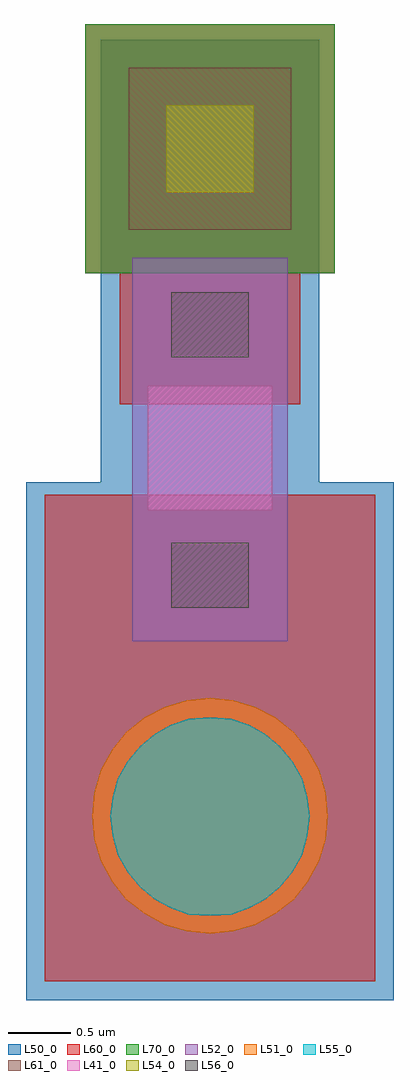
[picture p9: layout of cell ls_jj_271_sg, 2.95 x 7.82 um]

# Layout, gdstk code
import gdstk
lib = gdstk.Library(unit=1e-6, precision=1e-09)
def R(c, l, rs):  # rectangles x0, y0, x1, y1
    for r in rs: c.add(gdstk.rectangle(r[:2], r[2:], *l))
def P(c, l, *ps):  # polygons
    for p in ps: c.add(gdstk.Polygon(p, *l))
L41_0 = (41, 0)
L50_0 = (50, 0)
L51_0 = (51, 0)
L52_0 = (52, 0)
L54_0 = (54, 0)
L55_0 = (55, 0)
L56_0 = (56, 0)
L60_0 = (60, 0)
L61_0 = (61, 0)
L70_0 = (70, 0)

ls_conn_m5m6m7 = lib.new_cell('ls_conn_M5M6M7')
R(ls_conn_m5m6m7, L50_0, [(-0.5,-0.5,1.2,1.2)])
R(ls_conn_m5m6m7, L54_0, [(0,0,0.7,0.7)])
R(ls_conn_m5m6m7, L60_0, [(-0.65,-0.65,1.35,1.35)])
R(ls_conn_m5m6m7, L61_0, [(-0.3,-0.3,1,1)])
R(ls_conn_m5m6m7, L70_0, [(-0.65,-0.65,1.35,1.35)])

ls_jj_271_sg = lib.new_cell('ls_jj_271_sg')
R(ls_jj_271_sg, L41_0, [(-0.5,2.45,0.5,3.45)])
R(ls_jj_271_sg, L50_0, [(-1.475,-1.475,1.475,2.675), (-0.875,2.675,0.875,6.225)])
P(ls_jj_271_sg, L51_0, [(0,-0.945),(0.185,-0.925),(0.36,-0.875),(0.525,-0.785),(0.67,-0.67),(0.785,-0.525),(0.875,-0.36),(0.93,-0.185),(0.945,0),(0.93,0.185),(0.875,0.365),(0.785,0.53),(0.67,0.67),(0.525,0.79),(0.36,0.875),(0.185,0.93),(0,0.95),(-0.185,0.93),(-0.36,0.875),(-0.525,0.79),(-0.67,0.67),(-0.785,0.53),(-0.875,0.365),(-0.93,0.185),(-0.945,0),(-0.93,-0.185),(-0.875,-0.36),(-0.785,-0.525),(-0.67,-0.67),(-0.525,-0.785),(-0.36,-0.875),(-0.185,-0.925)])
R(ls_jj_271_sg, L52_0, [(-0.625,1.4,0.625,4.475)])
R(ls_jj_271_sg, L54_0, [(-0.35,5,0.35,5.7)])
P(ls_jj_271_sg, L55_0, [(0,-0.8),(0.17,-0.79),(0.31,-0.74),(0.44,-0.67),(0.56,-0.57),(0.66,-0.45),(0.74,-0.31),(0.78,-0.16),(0.8,0),(0.78,0.15),(0.74,0.3),(0.66,0.44),(0.56,0.56),(0.44,0.66),(0.31,0.73),(0.17,0.78),(0,0.79),(-0.17,0.78),(-0.31,0.73),(-0.44,0.66),(-0.56,0.56),(-0.66,0.44),(-0.74,0.3),(-0.78,0.15),(-0.8,0),(-0.78,-0.16),(-0.74,-0.31),(-0.66,-0.45),(-0.56,-0.57),(-0.44,-0.67),(-0.31,-0.74),(-0.17,-0.79)])
R(ls_jj_271_sg, L56_0, [(-0.31,1.67,0.31,2.19), (-0.31,3.68,0.31,4.2)])
R(ls_jj_271_sg, L60_0, [(-1.325,-1.325,1.325,2.575), (-0.725,3.3,0.725,6.075)])
ls_jj_271_sg.add(gdstk.Reference(ls_conn_m5m6m7, (-0.35,5)))

lib.write_gds('ls_jj_271_sg.gds')
